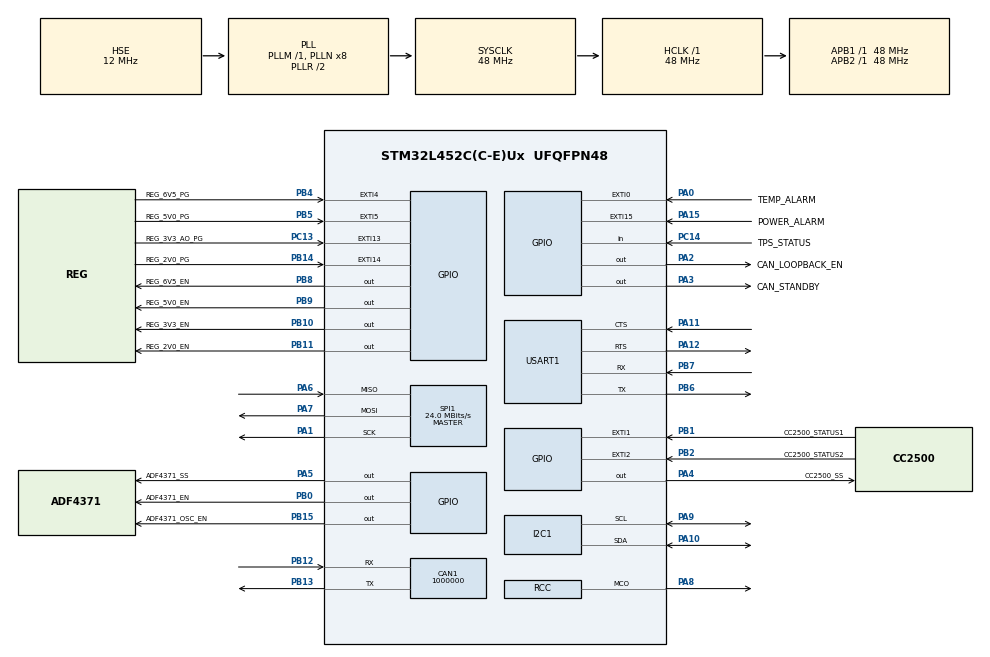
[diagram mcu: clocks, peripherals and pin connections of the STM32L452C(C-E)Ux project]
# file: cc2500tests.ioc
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CAN1.CalculateBaudRate=1000000
CAN1.CalculateTimeBit=1000
CAN1.CalculateTimeQuantum=333.3333333333333
Dma.Request0=USART1_RX
Dma.Request1=USART1_TX
Dma.USART1_RX.0.Direction=DMA_PERIPH_TO_MEMORY
Dma.USART1_RX.0.Instance=DMA1_Channel5
Dma.USART1_RX.0.MemDataAlignment=DMA_MDATAALIGN_BYTE
Dma.USART1_RX.0.MemInc=DMA_MINC_ENABLE
Dma.USART1_RX.0.Mode=DMA_NORMAL
Dma.USART1_RX.0.PeriphDataAlignment=DMA_PDATAALIGN_BYTE
Dma.USART1_RX.0.PeriphInc=DMA_PINC_DISABLE
Dma.USART1_RX.0.Priority=DMA_PRIORITY_LOW
Dma.USART1_TX.1.Direction=DMA_MEMORY_TO_PERIPH
Dma.USART1_TX.1.Instance=DMA1_Channel4
Dma.USART1_TX.1.MemDataAlignment=DMA_MDATAALIGN_BYTE
Dma.USART1_TX.1.MemInc=DMA_MINC_ENABLE
Dma.USART1_TX.1.Mode=DMA_NORMAL
Dma.USART1_TX.1.PeriphDataAlignment=DMA_PDATAALIGN_BYTE
Dma.USART1_TX.1.PeriphInc=DMA_PINC_DISABLE
Dma.USART1_TX.1.Priority=DMA_PRIORITY_LOW
I2C1.Timing=0x10805D88
Mcu.Family=STM32L4
Mcu.Name=STM32L452C(C-E)Ux
Mcu.Package=UFQFPN48
NVIC.CAN1_RX0_IRQn=true\:0\:0\:false\:false\:true\:true\:true\:true
NVIC.CAN1_RX1_IRQn=true\:0\:0\:false\:false\:true\:true\:true\:true
NVIC.CAN1_SCE_IRQn=true\:0\:0\:false\:false\:true\:true\:true\:true
NVIC.CAN1_TX_IRQn=true\:0\:0\:false\:false\:true\:true\:true\:true
NVIC.DMA1_Channel4_IRQn=true\:0\:0\:false\:false\:true\:false\:true\:true
NVIC.DMA1_Channel5_IRQn=true\:0\:0\:false\:false\:true\:false\:true\:true
NVIC.I2C1_ER_IRQn=true\:0\:0\:false\:false\:true\:true\:true\:true
NVIC.I2C1_EV_IRQn=true\:0\:0\:false\:false\:true\:true\:true\:true
NVIC.PriorityGroup=NVIC_PRIORITYGROUP_4
NVIC.SPI1_IRQn=true\:0\:0\:false\:false\:true\:true\:true\:true
NVIC.USART1_IRQn=true\:0\:0\:false\:false\:true\:true\:true\:true
PA0.GPIO_Label=TEMP_ALARM
PA0.GPIO_ModeDefaultEXTI=GPIO_MODE_IT_FALLING
PA0.Signal=GPXTI0
PA1.Mode=Full_Duplex_Master
PA1.Signal=SPI1_SCK
PA10.Mode=I2C
PA10.Signal=I2C1_SDA
PA11.Mode=CTS_RTS
PA11.Signal=USART1_CTS
PA12.Mode=CTS_RTS
PA12.Signal=USART1_RTS
PA13\ (JTMS/SWDIO).Mode=Trace_Asynchronous_SW
PA13\ (JTMS/SWDIO).Signal=SYS_JTMS-SWDIO
PA14\ (JTCK/SWCLK).Mode=Trace_Asynchronous_SW
PA14\ (JTCK/SWCLK).Signal=SYS_JTCK-SWCLK
PA15\ (JTDI).GPIO_Label=POWER_ALARM
PA15\ (JTDI).GPIO_ModeDefaultEXTI=GPIO_MODE_IT_FALLING
PA15\ (JTDI).Signal=GPXTI15
PA2.GPIO_Label=CAN_LOOPBACK_EN
PA2.Signal=GPIO_Output
PA3.GPIO_Label=CAN_STANDBY
PA3.GPIO_Speed=GPIO_SPEED_FREQ_LOW
PA3.Signal=GPIO_Output
PA4.GPIO_Label=CC2500_SS
PA4.Signal=GPIO_Output
PA5.GPIO_Label=ADF4371_SS
PA5.Signal=GPIO_Output
PA6.Mode=Full_Duplex_Master
PA6.Signal=SPI1_MISO
PA7.Mode=Full_Duplex_Master
PA7.Signal=SPI1_MOSI
PA8.Mode=Clock-out
PA8.Signal=RCC_MCO
PA9.Mode=I2C
PA9.Signal=I2C1_SCL
PB0.GPIO_Label=ADF4371_EN
PB0.Signal=GPIO_Output
PB1.GPIO_Label=CC2500_STATUS1
PB1.Signal=GPXTI1
PB10.GPIO_Label=REG_3V3_EN
PB10.Signal=GPIO_Output
PB11.GPIO_Label=REG_2V0_EN
PB11.Signal=GPIO_Output
PB12.Mode=CAN_Activate
PB12.Signal=CAN1_RX
PB13.Mode=CAN_Activate
PB13.Signal=CAN1_TX
PB14.GPIO_Label=REG_2V0_PG
PB14.GPIO_ModeDefaultEXTI=GPIO_MODE_IT_FALLING
PB14.Signal=GPXTI14
PB15.GPIO_Label=ADF4371_OSC_EN
PB15.Signal=GPIO_Output
PB2.GPIO_Label=CC2500_STATUS2
PB2.Signal=GPXTI2
PB3\ (JTDO/TRACESWO).Mode=Trace_Asynchronous_SW
PB3\ (JTDO/TRACESWO).Signal=SYS_JTDO-SWO
PB4\ (NJTRST).GPIO_Label=REG_6V5_PG
PB4\ (NJTRST).GPIO_ModeDefaultEXTI=GPIO_MODE_IT_FALLING
PB4\ (NJTRST).Signal=GPXTI4
PB5.GPIO_Label=REG_5V0_PG
PB5.GPIO_ModeDefaultEXTI=GPIO_MODE_IT_FALLING
PB5.Signal=GPXTI5
PB6.Mode=Asynchronous
PB6.Signal=USART1_TX
PB7.Mode=Asynchronous
PB7.Signal=USART1_RX
PB8.GPIO_Label=REG_6V5_EN
PB8.Signal=GPIO_Output
PB9.GPIO_Label=REG_5V0_EN
PB9.Signal=GPIO_Output
PC13.GPIO_Label=REG_3V3_AO_PG
PC13.GPIO_ModeDefaultEXTI=GPIO_MODE_IT_FALLING
PC13.Signal=GPXTI13
PC14-OSC32_IN\ (PC14).GPIO_Label=TPS_STATUS
PC14-OSC32_IN\ (PC14).Signal=GPIO_Input
PH0-OSC_IN\ (PH0).Mode=HSE-External-Oscillator
PH0-OSC_IN\ (PH0).Signal=RCC_OSC_IN
PH1-OSC_OUT\ (PH1).Mode=HSE-External-Oscillator
PH1-OSC_OUT\ (PH1).Signal=RCC_OSC_OUT
ProjectManager.HeapSize=0x200
ProjectManager.StackSize=0x400
ProjectManager.TargetToolchain=STM32CubeIDE
RCC.ADCFreq_Value=48000000
RCC.AHBFreq_Value=48000000
RCC.APB1Freq_Value=48000000
RCC.APB1TimFreq_Value=48000000
RCC.APB2Freq_Value=48000000
RCC.APB2TimFreq_Value=48000000
RCC.CortexFreq_Value=48000000
RCC.HCLKFreq_Value=48000000
RCC.HSE_VALUE=12000000
RCC.HSI48_VALUE=48000000
RCC.HSI_VALUE=16000000
RCC.LSE_VALUE=32768
RCC.MSI_VALUE=4000000
RCC.PLLSourceVirtual=RCC_PLLSOURCE_HSE
RCC.SYSCLKFreq_VALUE=48000000
RCC.SYSCLKSource=RCC_SYSCLKSOURCE_PLLCLK
RCC.USBFreq_Value=48000000
RCC.VCOOutputFreq_Value=96000000
SPI1.CalculateBaudRate=24.0 MBits/s
SPI1.Direction=SPI_DIRECTION_2LINES
SPI1.Mode=SPI_MODE_MASTER
SPI1.VirtualType=VM_MASTER
USART1.VirtualMode-Asynchronous=VM_ASYNC
VP_IWDG_VS_IWDG.Mode=IWDG_Activate
board=custom

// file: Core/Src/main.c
/* USER CODE BEGIN Header */
/**
  ******************************************************************************
  * @file           : main.c
  * @brief          : CC2500 Full TX/RX Driver
  * Pins: CS=PB11, SCK=PA1, MISO=PA6, MOSI=PA7
  * GDO1=PB1, GDO2=PB2, LED=PA4
  * Debug: SWO ITM + USART1 @ 115200
  * @note           : Heavily commented to explain SPI logic, state machine
  * transitions, and RF configurations.
  ******************************************************************************
  */
/* USER CODE END Header */

#include "main.h"

/* USER CODE BEGIN Includes */
#include <stdio.h>
#include <string.h>
#include <math.h>

/* Debug Indicator LED = PA4 */
#define LED_PORT    GPIOA
#define LED_PIN     GPIO_PIN_4
/* USER CODE END Includes */

/* USER CODE BEGIN PTD */
/* CC2500 SPI Command Header Bits */
#define CC2500_READ   0x80  /* Bit 7 = 1 indicates a Read operation, 0 is Write */
#define CC2500_BURST  0x40  /* Bit 6 = 1 indicates a Burst (multi-byte) access */
/* USER CODE END PTD */

/* USER CODE BEGIN PD */

/* ═══════════════════════════════════════════════════════
 * GPIO MAPPING (CORRECTED)
 * ═══════════════════════════════════════════════════════ */

/* Chip Select (CS) Control Macros - Manually driven for SPI */
#define CC2500_CS_PORT    GPIOB
#define CC2500_CS_PIN     GPIO_PIN_11
#define CC2500_CS_LOW()   HAL_GPIO_WritePin(CC2500_CS_PORT, CC2500_CS_PIN, GPIO_PIN_RESET)
#define CC2500_CS_HIGH()  HAL_GPIO_WritePin(CC2500_CS_PORT, CC2500_CS_PIN, GPIO_PIN_SET)

/* General Digital Output (GDO) pins from CC2500 to STM32 */
#define GDO0_PORT   GPIOB   // Mapped to PB1
#define GDO0_PIN    GPIO_PIN_1
#define GDO2_PORT   GPIOB   // Mapped to PB2
#define GDO2_PIN    GPIO_PIN_2

/* Macros to read the hardware state of the GDO pins */
#define GDO0_READ() HAL_GPIO_ReadPin(GDO0_PORT, GDO0_PIN)
#define GDO2_READ() HAL_GPIO_ReadPin(GDO2_PORT, GDO2_PIN)

/* ═══════════════════════════════════════════════════════
 * REGISTERS - See CC2500 Datasheet for full details
 * ═══════════════════════════════════════════════════════ */

/* Status Registers (Read-Only) */
#define REG_PARTNUM   0x30  // Chip part number
#define REG_VERSION   0x31  // Chip version
#define REG_LQI       0x33  // Link Quality Indicator
#define REG_RSSI      0x34  // Received Signal Strength Indicator
#define REG_MARCSTATE 0x35  // Main Radio Control State Machine state
#define REG_TXBYTES   0x3A  // Bytes in TX FIFO
#define REG_RXBYTES   0x3B  // Bytes in RX FIFO

/* Configuration Registers */
#define REG_IOCFG0    0x02  // GDO0 output pin configuration
#define REG_IOCFG1    0x01  // GDO1 output pin configuration
#define REG_IOCFG2    0x00  // GDO2 output pin configuration

#define REG_PKTLEN    0x06  // Packet length
#define REG_PKTCTRL0  0x08  // Packet automation control
#define REG_PKTCTRL1  0x07  // Packet automation control
#define REG_CHANNR    0x0A  // Channel number

/* Frequency control words */
#define REG_FREQ2     0x0D  // Frequency control word, high byte
#define REG_FREQ1     0x0E  // Frequency control word, middle byte
#define REG_FREQ0     0x0F  // Frequency control word, low byte

/* Modem configuration */
#define REG_MDMCFG4   0x10  // Modem configuration (data rate exponent, channel BW)
#define REG_MDMCFG3   0x11  // Modem configuration (data rate mantissa)
#define REG_MDMCFG2   0x12  // Modem configuration (modulation format, sync mode)
#define REG_MDMCFG1   0x13  // Modem configuration (FEC, preamble length)
#define REG_DEVIATN   0x15  // Modem deviation setting

/* Main Radio Control State Machine configuration */
#define REG_MCSM1     0x17
#define REG_MCSM0     0x18

#define REG_FOCCFG    0x19  // Frequency Offset Compensation config
#define REG_AGCCTRL2  0x1B  // AGC control

#define REG_FREND0    0x22  // Front end TX configuration
#define REG_FSCAL1    0x25  // Frequency synthesizer calibration
#define REG_FSCAL0    0x26  // Frequency synthesizer calibration

/* FIFO and Power Access */
#define REG_PATABLE   0x3E  // Power amplifier output power table
#define REG_TXFIFO    0x3F  // TX FIFO (Write)
#define REG_RXFIFO    0x3F  // RX FIFO (Read)

/* ═══════════════════════════════════════════════════════
 * COMMAND STROBES (Single-byte commands)
 * ═══════════════════════════════════════════════════════ */

#define STROBE_SRES   0x30  // Reset chip
#define STROBE_SFSTXON 0x31 // Enable and calibrate frequency synthesizer
#define STROBE_SXOFF  0x32  // Turn off crystal oscillator
#define STROBE_SCAL   0x33  // Calibrate frequency synthesizer and turn it off
#define STROBE_SRX    0x34  // Enable RX
#define STROBE_STX    0x35  // Enable TX
#define STROBE_SIDLE  0x36  // Exit RX / TX, turn off frequency synthesizer
#define STROBE_SFRX   0x3A  // Flush the RX FIFO
#define STROBE_SFTX   0x3B  // Flush the TX FIFO

/* ── MARCSTATE values (State Machine Status) ────────────────────────────────── */
#define MARCSTATE_IDLE 0x01
#define MARCSTATE_RX   0x0D
#define MARCSTATE_TX   0x13

/* ── Crystal and frequency constraints ──────────────────────────────────────── */
#define FXOSC        26000000.0    /* CC2500 requires a 26 MHz crystal */
#define CENTRE_FREQ  2433000000.0  /* Targeted base frequency: 2.433 GHz */

/* ── RX buffer size ─────────────────────────────────────────────────────────── */
#define RX_BUF_SIZE  64  /* CC2500 hardware FIFO is exactly 64 bytes */

/* USER CODE END PD */

CAN_HandleTypeDef hcan1;

I2C_HandleTypeDef hi2c1;

IWDG_HandleTypeDef hiwdg;

SPI_HandleTypeDef hspi1;

UART_HandleTypeDef huart1;
DMA_HandleTypeDef hdma_usart1_rx;
DMA_HandleTypeDef hdma_usart1_tx;

/* USER CODE BEGIN PV */

/**
 * @brief Overrides standard printf to output to both SWO ITM and USART1.
 * Useful for redundant debugging depending on what cables are plugged in.
 */
int __io_putchar(int ch)
{
    ITM_SendChar(ch); // Send to SWO Viewer
    HAL_UART_Transmit(&huart1, (uint8_t *)&ch, 1, 1000); // Send to Serial Terminal
    return ch;
}

/* USER CODE END PV */

void SystemClock_Config(void);
static void MX_GPIO_Init(void);
static void MX_DMA_Init(void);
static void MX_CAN1_Init(void);
static void MX_I2C1_Init(void);
static void MX_IWDG_Init(void);
static void MX_SPI1_Init(void);
static void MX_USART1_UART_Init(void);

/* USER CODE BEGIN PFP */
/* Low-level SPI */
void    CC2500_WriteReg(uint8_t addr, uint8_t value);
uint8_t CC2500_ReadReg(uint8_t addr);
uint8_t CC2500_Strobe(uint8_t cmd);
void    CC2500_WriteBurst(uint8_t addr, const uint8_t *data, uint8_t len);
void    CC2500_ReadBurst(uint8_t addr, uint8_t *data, uint8_t len);
/* Mid-level */
void    CC2500_Reset(void);
uint8_t CC2500_WaitIdle(uint32_t timeout_ms);
/* High-level */
void    CC2500_RFConfig(void);
void    CC2500_SetFrequency(double frequency);
double  CC2500_GetFrequency(void);
void    CC2500_TransmitPacket(const uint8_t *data, uint8_t length);
void    CC2500_ReceiveLoop(void);
/* Test/bring-up */
void    CC2500_Test(void);
void    CC2500_TxLoopbackTest(void);

static const char *marcstate_str(uint8_t s);
/* USER CODE END PFP */

/* USER CODE BEGIN 0 */

/* ════════════════════════════════════════════════════════════════════════════
 * LOW-LEVEL SPI FUNCTIONS
 * ════════════════════════════════════════════════════════════════════════════ */

/**
 * @brief Writes a single byte to a specific CC2500 register.
 */
void CC2500_WriteReg(uint8_t addr, uint8_t val)
{
    // Mask with 0x3F ensures bits 6 and 7 are 0 (Write mode, Single byte)
    uint8_t tx_buf[2] = { addr & 0x3F, val };
    uint8_t rx_buf[2]; // Captures and flushes the incoming bytes automatically

    CC2500_CS_LOW(); // Initiate SPI transaction
    HAL_SPI_TransmitReceive(&hspi1, tx_buf, rx_buf, 2, HAL_MAX_DELAY);
    CC2500_CS_HIGH(); // Terminate SPI transaction
}

/**
 * @brief Reads a single byte from a specific CC2500 register.
 */
uint8_t CC2500_ReadReg(uint8_t addr)
{
    // Status registers (>= 0x30) require the BURST bit to be set during reads,
    // otherwise the chip expects a Strobe command. Configuration registers do not.
    uint8_t tx = (addr >= 0x30) ? (addr | CC2500_READ | CC2500_BURST)
                                : (addr | CC2500_READ);
    uint8_t tx_buf[2] = { tx, 0x00 }; // Byte 1: Header, Byte 2: Dummy clocking byte
    uint8_t rx_buf[2] = { 0, 0 };

    CC2500_CS_LOW();
    HAL_SPI_TransmitReceive(&hspi1, tx_buf, rx_buf, 2, HAL_MAX_DELAY);
    CC2500_CS_HIGH();

    // The first byte returned is the status byte; the second is the actual register data
    return rx_buf[1];
}

/**
 * @brief Sends a 1-byte instruction (Strobe) to the CC2500.
 */
uint8_t CC2500_Strobe(uint8_t cmd)
{
    uint8_t status = 0;
    CC2500_CS_LOW();
    // Sending a single byte. The CC2500 immediately replies with its global status byte
    HAL_SPI_TransmitReceive(&hspi1, &cmd, &status, 1, HAL_MAX_DELAY);
    CC2500_CS_HIGH();
    return status;
}

/**
 * @brief Writes multiple bytes consecutively (Burst Write).
 */
void CC2500_WriteBurst(uint8_t addr, const uint8_t *data, uint8_t len)
{
    uint8_t tx_buf[65];
    uint8_t rx_buf[65];

    // Hardware limit: FIFO cannot hold more than 64 bytes
    if (len > 64) len = 64;

    // Set Burst bit (0x40). Write bit (0x80) is naturally 0.
    tx_buf[0] = (addr & 0x3F) | CC2500_BURST;
    memcpy(&tx_buf[1], data, len); // Append payload after header byte

    CC2500_CS_LOW();
    // Transmit and receive simultaneously to prevent internal MCU FIFO overflow
    HAL_SPI_TransmitReceive(&hspi1, tx_buf, rx_buf, len + 1, HAL_MAX_DELAY);
    CC2500_CS_HIGH();
}

/**
 * @brief Reads multiple bytes consecutively (Burst Read).
 */
void CC2500_ReadBurst(uint8_t addr, uint8_t *data, uint8_t len)
{
    uint8_t tx_buf[65];
    uint8_t rx_buf[65];
    if (len > 64) len = 64;

    memset(tx_buf, 0x00, len + 1); // Fill with dummy bytes to keep clock running
    // Set both Read (0x80) and Burst (0x40) bits
    tx_buf[0] = addr | CC2500_READ | CC2500_BURST;

    CC2500_CS_LOW();
    HAL_SPI_TransmitReceive(&hspi1, tx_buf, rx_buf, len + 1, HAL_MAX_DELAY);
    CC2500_CS_HIGH();

    // Copy received bytes (offset by 1 to skip the initial status byte) into user buffer
    memcpy(data, &rx_buf[1], len);
}

/* ════════════════════════════════════════════════════════════════════════════
 * MID-LEVEL HELPERS
 * ════════════════════════════════════════════════════════════════════════════ */

/**
 * @brief Hardware-level reset sequence specified by the CC2500 datasheet.
 */
void CC2500_Reset(void)
{
    // Toggle CS high-low-high to trigger internal reset circuitry
    CC2500_CS_HIGH(); HAL_Delay(2);
    CC2500_CS_LOW();  HAL_Delay(2);
    CC2500_CS_HIGH(); HAL_Delay(2);

    CC2500_Strobe(STROBE_SRES); // Send Software Reset Strobe
    HAL_Delay(10);              // Allow oscillators to stabilize
}

/**
 * @brief Blocks execution until the CC2500 state machine enters the IDLE state.
 */
uint8_t CC2500_WaitIdle(uint32_t timeout_ms)
{
    CC2500_Strobe(STROBE_SIDLE); // Command chip to go to IDLE
    uint32_t deadline = HAL_GetTick() + timeout_ms;

    // Mask with 0x1F removes reserved upper bits from MARCSTATE
    while ((CC2500_ReadReg(REG_MARCSTATE) & 0x1F) != MARCSTATE_IDLE) {
        if (HAL_GetTick() > deadline) return 0; // Timeout failure
    }
    return 1; // Success
}

/**
 * @brief Converts hexadecimal MARCSTATE value into a human-readable string.
 */
static const char *marcstate_str(uint8_t s)
{
    switch (s) {
    		case 0x00: return "SLEEP";
            case 0x01: return "IDLE";
            case 0x0D: return "RX";
            case 0x11: return "RX_OVERFLOW";
            case 0x13: return "TX";
            case 0x16: return "TX_UNDERFLOW";
            default:   return "UNKNOWN";
    }
}

/* ════════════════════════════════════════════════════════════════════════════
 * RF CONFIGURATION  –  2.433 GHz, 250 kbps GFSK
 * ════════════════════════════════════════════════════════════════════════════ */

void CC2500_RFConfig(void)
{
    // FIX 2: Configure GDO pins explicitly to link hardware pins to the RF engine
    // REG_IOCFG0 (Controls PB1/GDO0): 0x06 asserts on sync word match, deasserts at End-of-Packet
    CC2500_WriteReg(REG_IOCFG0, 0x06);

    // REG_IOCFG2 (Controls PB2/GDO2): 0x29 outputs CHIP_RDYn (low when crystal oscillator is stable)
    CC2500_WriteReg(REG_IOCFG2, 0x29);

    // Set Base Frequency to 2.433 GHz
    CC2500_WriteReg(REG_FREQ2, 0x5D);
    CC2500_WriteReg(REG_FREQ1, 0x93);
    CC2500_WriteReg(REG_FREQ0, 0xB1);

    // Modem Configurations (Baud rate, modulation type, sync words)
    CC2500_WriteReg(REG_MDMCFG4, 0x2D); // Channel bandwidth
    CC2500_WriteReg(REG_MDMCFG3, 0x3B); // Data rate
    CC2500_WriteReg(REG_MDMCFG2, 0x73); // Modulation format (GFSK), 30/32 sync bits detected
    CC2500_WriteReg(REG_MDMCFG1, 0x22); // FEC disabled, 4 preamble bytes
    CC2500_WriteReg(REG_DEVIATN, 0x34); // FSK deviation

    // Packet Automation Controls
    CC2500_WriteReg(REG_PKTCTRL0, 0x05); // Variable length packets, CRC enabled
    CC2500_WriteReg(REG_PKTCTRL1, 0x04); // Append two status bytes (RSSI, LQI) to RX payload
    CC2500_WriteReg(REG_PKTLEN, 60);     // Max payload length allowed

    // Power Amplifier settings (0xFE is roughly +1 dBm output power)
    uint8_t pa[8] = {0x00, 0xFE, 0, 0, 0, 0, 0, 0};
    CC2500_WriteBurst(REG_PATABLE, pa, 8);
}

/* ════════════════════════════════════════════════════════════════════════════
 * FREQUENCY CONTROL
 * ════════════════════════════════════════════════════════════════════════════ */

/**
 * Set carrier frequency in Hz.
 * Valid range: 2400e6 – 2483.5e6 Hz.
 * Chip is forced to IDLE before writing registers.
 */
void CC2500_SetFrequency(double frequency)
{
    if (frequency < 2400e6 || frequency > 2483.5e6) {
        printf("Frequency %.0f Hz out of 2.4GHz band range\r\n", frequency);
        return;
    }
    if (!CC2500_WaitIdle(100)) { // Chip must be IDLE to safely rewrite FREQ registers
        printf("SetFrequency: failed to reach IDLE\r\n");
        return;
    }

    // Formula derived from CC2500 datasheet: FREQ = (f * 2^16) / f_osc
    uint32_t word = (uint32_t)round(frequency * (65536.0 / FXOSC));

    CC2500_WriteReg(REG_FREQ2, (uint8_t)((word >> 16) & 0xFF));
    CC2500_WriteReg(REG_FREQ1, (uint8_t)((word >>  8) & 0xFF));
    CC2500_WriteReg(REG_FREQ0, (uint8_t)((word      ) & 0xFF));
    printf("Frequency set to %.3f MHz\r\n", frequency / 1e6);
}

/**
 * Read back the configured carrier frequency in Hz.
 */
double CC2500_GetFrequency(void)
{
    uint32_t word = ((uint32_t)CC2500_ReadReg(REG_FREQ2) << 16)
                  | ((uint32_t)CC2500_ReadReg(REG_FREQ1) <<  8)
                  |  (uint32_t)CC2500_ReadReg(REG_FREQ0);
    return (FXOSC * (double)word) / 65536.0;
}

/* ════════════════════════════════════════════════════════════════════════════
 * TRANSMIT
 *
 * Packet format (variable length mode, PKTCTRL0=0x05):
 * data[0]        = length byte  (number of payload bytes that follow)
 * data[1..len-1] = payload bytes
 *
 * GDO1 (PB1 = CC2500_STATUS1) is wired to GDO0 of CC2500.
 * With IOCFG1=0x06 it asserts when sync is sent, deasserts at EOP.
 * MCSM1=0x3C returns chip to IDLE automatically after TX.
 * ════════════════════════════════════════════════════════════════════════════ */

void CC2500_TransmitPacket(const uint8_t *data, uint8_t len)
{
    // Force IDLE, flush the TX FIFO to clear old data
    CC2500_Strobe(STROBE_SIDLE);
    CC2500_Strobe(STROBE_SFTX);

    // Push the new payload into the hardware FIFO
    CC2500_WriteBurst(REG_TXFIFO, data, len);

    // Command the chip to begin Transmitting
    CC2500_Strobe(STROBE_STX);

    // FIX 3: Dynamic hardware state tracking instead of a blind 10ms guess
    // Block until the state machine leaves the TX state (packet is fully sent)
    uint32_t timeout = HAL_GetTick() + 50; // 50ms absolute safety ceiling
    while ((CC2500_ReadReg(REG_MARCSTATE) & 0x1F) == MARCSTATE_TX) {
        if (HAL_GetTick() > timeout) {
            printf("TX Error: State machine timeout!\r\n");
            break;
        }
    }

    // Post-transmit validation to handle unexpected RF locks
    // Verify success. 0x16 indicates the TX FIFO ran empty before packet completion
    uint8_t post_state = CC2500_ReadReg(REG_MARCSTATE) & 0x1F;
    if (post_state == 0x16) { // FIXED: 0x16 = TX_UNDERFLOW
        printf("TX Error: UNDERFLOW! Resetting TX FIFO...\r\n");
        CC2500_Strobe(STROBE_SIDLE);
        CC2500_Strobe(STROBE_SFTX);
    } else {
        printf("TX OK\r\n");
    }
}

/* ════════════════════════════════════════════════════════════════════════════
 * RECEIVE LOOP  (blocking)
 *
 * Received packet layout in RX FIFO (PKTCTRL1=0x04, append status on):
 * buf[0]             = length byte
 * buf[1 .. len]      = payload
 * buf[len+1]         = RSSI raw
 * buf[len+2]         = LQI[6:0] | CRC_OK[7]
 *
 * Call from main() when you want this board to be the receiver.
 * To use as transmitter instead, comment this out and use
 * CC2500_TransmitPacket() in a loop.
 * ════════════════════════════════════════════════════════════════════════════ */

void CC2500_ReceiveLoop(void)
{
    printf("\r\nRX MODE START\r\n");

    // FIX 1: Move initialization strobes OUTSIDE the infinite loop
    // Clear state and enter continuous Receive Mode
    CC2500_Strobe(STROBE_SIDLE);
    CC2500_Strobe(STROBE_SFRX); // Flush old junk in RX FIFO
    CC2500_Strobe(STROBE_SRX);  // Enter RX state

    while (1)
    {
        uint8_t rxbytes1 = 0, rxbytes2 = 0;

        // FIX 4: Asynchronous clock domain double-read protection
        // HARDWARE ERRATA WORKAROUND:
        // The RXBYTES register can glitch if read exactly while a byte is written to the FIFO
        // by the internal RF MAC. Double-reading ensures structural integrity of the count.
        do {
            rxbytes1 = CC2500_ReadReg(REG_RXBYTES) & 0x7F;
            rxbytes2 = CC2500_ReadReg(REG_RXBYTES) & 0x7F;
        } while (rxbytes1 != rxbytes2);

        uint8_t rxbytes = rxbytes1;

        // Handle hardware overflow conditions safely
        // Check if the FIFO received more than 64 bytes without being read (Overflow)
        uint8_t state = CC2500_ReadReg(REG_MARCSTATE) & 0x1F;
        if (state == 0x11) // 0x11 = RX_OVERFLOW
        {
            printf("[RX] Overflow encountered! Purging...\r\n");
            CC2500_Strobe(STROBE_SIDLE);
            CC2500_Strobe(STROBE_SFRX);
            CC2500_Strobe(STROBE_SRX);
            continue;
        }

        if (rxbytes == 0)
        {
            HAL_Delay(1); // Yield execution slightly to avoid thrashing the SPI bus
            continue;     // Spinlock until data arrives
        }

        // Pull the entire pending buffer
        uint8_t buf[64];
        CC2500_ReadBurst(REG_RXFIFO, buf, rxbytes);

        // First byte is the packet length (PKTCTRL0=0x05 variable length mode)
        uint8_t len = buf[0];

        // Validate structure integrity of the dynamic buffer length byte
        // Sanity check packet bounds
        if (len == 0 || len > 60 || len + 3 > rxbytes)
        {
            printf("[RX] Corrupted frame parsed: len=%d, bytes=%d\r\n", len, rxbytes);
            CC2500_Strobe(STROBE_SIDLE);
            CC2500_Strobe(STROBE_SFRX);
            CC2500_Strobe(STROBE_SRX);
            continue;
        }

        // Extract Payload
        uint8_t *payload = &buf[1];

        // Because PKTCTRL1=0x04, the chip automatically appends RSSI and LQI/CRC bits
        uint8_t rssi_raw = buf[len + 1];
        uint8_t lqi_crc  = buf[len + 2];

        uint8_t lqi = lqi_crc & 0x7F;      // Bottom 7 bits are Link Quality
        uint8_t crc = lqi_crc >> 7;        // Top bit indicates if hardware CRC passed

        // RSSI calculation formula from CC2500 datasheet
        int8_t rssi = (int8_t)(rssi_raw / 2) - 72;

        if (crc) {
            printf("[RX] \"%.*s\" RSSI=%d dBm LQI=%d CRC=OK\r\n", len, payload, rssi, lqi);
            HAL_GPIO_TogglePin(LED_PORT, LED_PIN);
        } else {
            printf("[RX] Bad CRC frame dropped\r\n");
        }

        // Cleanly return to RX mode for next inbound packet
        CC2500_Strobe(STROBE_SIDLE);
        CC2500_Strobe(STROBE_SRX);
    }
}

/* ════════════════════════════════════════════════════════════════════════════
 * SELF-TEST FUNCTIONS  (from bring-up, kept for diagnostics)
 * ════════════════════════════════════════════════════════════════════════════ */

void CC2500_Test(void)
{
    printf("\r\n=============================\r\n");
    printf("   CC2500 SPI TEST\r\n");
    printf("   CS=PB11 SCK=PA1\r\n");
    printf("   MISO=PA6 MOSI=PA7\r\n");
    printf("=============================\r\n\r\n");

    printf("[1] Resetting CC2500...\r\n");
    CC2500_Reset();

    printf("[2] Chip identification...\r\n");

    // Verify SPI communication by asking for hardcoded silicon ID numbers
    uint8_t partnum = CC2500_ReadReg(REG_PARTNUM);
    uint8_t version = CC2500_ReadReg(REG_VERSION);

    printf("    PARTNUM = 0x%02X  (expect 0x80) %s\r\n",
           partnum, partnum == 0x80 ? "OK" : "FAIL");
    printf("    VERSION = 0x%02X  (expect 0x03) %s\r\n",
           version, version == 0x03 ? "OK" : "FAIL");

    // 0x80 and 0x03 are constants from Texas Instruments for this silicon revision
    if (partnum != 0x80 || version != 0x03) {
        printf("\r\nCOMMS FAILED — halting\r\n");
        while (1) {
            HAL_GPIO_TogglePin(LED_PORT, LED_PIN); // Blink death loop
            HAL_Delay(100);
        }
    }

    printf("\r\n[3] Register write/readback...\r\n");

    // Write a series of bytes to a harmless register and read them back to ensure MISO/MOSI health
    uint8_t vals[] = { 0xAA, 0x55, 0x12, 0xA5 };
    uint8_t all_ok = 1;
    for (int i = 0; i < 4; i++) {
        CC2500_WriteReg(REG_CHANNR, vals[i]);
        uint8_t rb = CC2500_ReadReg(REG_CHANNR);
        printf("    Wrote 0x%02X  Read 0x%02X  %s\r\n",
               vals[i], rb, rb == vals[i] ? "OK" : "MISMATCH");
        if (rb != vals[i]) all_ok = 0;
    }

    printf("\r\n[4] State machine (SIDLE strobe)...\r\n");
    CC2500_Strobe(STROBE_SIDLE);
    HAL_Delay(5);
    uint8_t state = CC2500_ReadReg(REG_MARCSTATE) & 0x1F;
    printf("    MARCSTATE = 0x%02X (%s) %s\r\n",
           state, marcstate_str(state),
           state == MARCSTATE_IDLE ? "OK" : "FAIL");

    printf("\r\n=============================\r\n");
    if (all_ok && state == MARCSTATE_IDLE) {
        printf("   ALL TESTS PASSED\r\n");
        HAL_GPIO_WritePin(LED_PORT, LED_PIN, GPIO_PIN_SET);
    } else {
        printf("   SOME TESTS FAILED\r\n");
        HAL_GPIO_WritePin(LED_PORT, LED_PIN, GPIO_PIN_RESET);
    }
    printf("=============================\r\n");
}

void CC2500_TxLoopbackTest(void)
{
    printf("\r\n[5] TX loopback test...\r\n");

    CC2500_WaitIdle(50);
    CC2500_Strobe(STROBE_SIDLE);
    CC2500_Strobe(STROBE_SFTX);

    // Dummy Payload: Size (4) + Data (DE AD BE EF)
    uint8_t payload[5] = {4, 0xDE, 0xAD, 0xBE, 0xEF};

    // Push to TX FIFO
    CC2500_WriteBurst(REG_TXFIFO, payload, 5);

    // Read back the internal register that counts bytes waiting in the TX FIFO
    uint8_t txbytes = CC2500_ReadReg(REG_TXBYTES) & 0x7F;

    printf("TXBYTES=%d (expect 5)\r\n", txbytes);

    // Transmit!
    CC2500_Strobe(STROBE_STX);

    HAL_Delay(20); // Wait for physical air propagation

    // Post-TX state check. Should fall back to IDLE (0x01)
    uint8_t state = CC2500_ReadReg(REG_MARCSTATE) & 0x1F;

    printf("Post-TX state=0x%02X (%s)\r\n", state, marcstate_str(state));
}

/* USER CODE END 0 */

int main(void)
{

    HAL_Init();
    SystemClock_Config();

    /* ── Initialize Peripherals ── */
    MX_GPIO_Init();

    // Overriding CubeMX's CS Pin config to enforce VERY_HIGH speed (sharp edges for SPI reliability)
    GPIO_InitTypeDef GPIO_InitStructPrivate = {0};
    GPIO_InitStructPrivate.Pin   = CC2500_CS_PIN;
    GPIO_InitStructPrivate.Mode  = GPIO_MODE_OUTPUT_PP;
    GPIO_InitStructPrivate.Pull  = GPIO_NOPULL;
    GPIO_InitStructPrivate.Speed = GPIO_SPEED_FREQ_VERY_HIGH; // Fast edges for clean SPI framing
    HAL_GPIO_Init(CC2500_CS_PORT, &GPIO_InitStructPrivate);

    // Immediately pull it high to finish the boot-glitch fix
    // Force CS HIGH immediately so the CC2500 doesn't think an SPI transaction is starting
    CC2500_CS_HIGH();

    MX_DMA_Init();
    MX_CAN1_Init();
    MX_I2C1_Init();
//    MX_IWDG_Init(); // Watchdog disabled for debugging
    MX_SPI1_Init();
    MX_USART1_UART_Init();

    /* USER CODE BEGIN 2 */
    HAL_Delay(200);   /* Let SWO viewer or terminal application connect */

    /* ── Step 1: SPI self-test ── */
    CC2500_Test();

    /* ── Step 2: Apply RF configuration ── */
    printf("\r\n[6] Applying RF configuration...\r\n");
    CC2500_RFConfig();

    printf("    Frequency : %.3f MHz\r\n", CC2500_GetFrequency() / 1e6);
    printf("    LQI       : 0x%02X\r\n", CC2500_ReadReg(REG_LQI));
    printf("    RSSI      : 0x%02X\r\n", CC2500_ReadReg(REG_RSSI));
    uint8_t st = CC2500_ReadReg(REG_MARCSTATE) & 0x1F;
    printf("    MARCSTATE : 0x%02X (%s)\r\n", st, marcstate_str(st));

    /* ── Step 3: Raw FIFO loopback ── */
    CC2500_TxLoopbackTest();

    /* ── Step 4: Formatted packet TX ── */
    printf("\r\n[7] Sending formatted packet...\r\n");
    uint8_t pkt[] = "Hello from PCB!!";
    uint8_t len = strlen((char*)pkt);
    uint8_t tx[len + 1];
    tx[0] = len; // Prepend dynamic length byte
    memcpy(&tx[1], pkt, len);
    CC2500_TransmitPacket(tx, len + 1);

    /* ════════════════════════════════════════════════════════════
     * CHOOSE MODE — comment/uncomment one of the two blocks below
     * ════════════════════════════════════════════════════════════ */

    /* ── RECEIVER MODE (default) ── */
//    CC2500_ReceiveLoop();   /* blocking — never returns */

    // ── TRANSMITTER MODE ──
    printf("\r\n[TX] Continuous transmit @ 200 ms...\r\n");

        uint8_t tx_pkt[17];
        uint32_t count = 0;

        while (1)
        {
            memset(tx_pkt, 0, sizeof(tx_pkt));

            // Define exactly how many bytes of actual payload we want to send
            uint8_t payload_len = 16;
            tx_pkt[0] = payload_len; // Byte 0 is length marker

            // Use payload_len + 1 (or sizeof(tx_pkt) - 1) to allow snprintf to use all 16 slots for data
            snprintf((char *)&tx_pkt[1], payload_len + 1, "Pkt %010lu", count++);

            // Transmit total size: 1 length byte + 16 payload bytes = 17 bytes
            CC2500_TransmitPacket(tx_pkt, payload_len + 1);

            HAL_GPIO_TogglePin(LED_PORT, LED_PIN); // Blink to show life
            HAL_Delay(200); // Wait 200ms before next send
        }

    /* USER CODE END 2 */

    // Fallback loop if the application drops out of TX/RX logic
    while (1)
    {
        /* USER CODE BEGIN 3 */
        HAL_GPIO_TogglePin(LED_PORT, LED_PIN);
        HAL_Delay(1000);
        /* USER CODE END 3 */
    }
}

/* ════════════════════════════════════════════════════════════════════════════
 * PERIPHERAL INITIALISATION
 * ════════════════════════════════════════════════════════════════════════════ */

void SystemClock_Config(void)
{
    RCC_OscInitTypeDef RCC_OscInitStruct = {0};
    RCC_ClkInitTypeDef RCC_ClkInitStruct = {0};

    if (HAL_PWREx_ControlVoltageScaling(PWR_REGULATOR_VOLTAGE_SCALE1) != HAL_OK)
        Error_Handler();

    /* HSE=12 MHz, PLL: PLLM=1, PLLN=8, PLLR=2 → SYSCLK=48 MHz */
    RCC_OscInitStruct.OscillatorType = RCC_OSCILLATORTYPE_LSI | RCC_OSCILLATORTYPE_HSE;
    RCC_OscInitStruct.HSEState       = RCC_HSE_ON;
    RCC_OscInitStruct.LSIState       = RCC_LSI_ON;
    RCC_OscInitStruct.PLL.PLLState   = RCC_PLL_ON;
    RCC_OscInitStruct.PLL.PLLSource  = RCC_PLLSOURCE_HSE;
    RCC_OscInitStruct.PLL.PLLM       = 1;
    RCC_OscInitStruct.PLL.PLLN       = 8;
    RCC_OscInitStruct.PLL.PLLP       = RCC_PLLP_DIV7;
    RCC_OscInitStruct.PLL.PLLQ       = RCC_PLLQ_DIV2;
    RCC_OscInitStruct.PLL.PLLR       = RCC_PLLR_DIV2;
    if (HAL_RCC_OscConfig(&RCC_OscInitStruct) != HAL_OK)
        Error_Handler();

    RCC_ClkInitStruct.ClockType      = RCC_CLOCKTYPE_HCLK | RCC_CLOCKTYPE_SYSCLK
                                     | RCC_CLOCKTYPE_PCLK1 | RCC_CLOCKTYPE_PCLK2;
    RCC_ClkInitStruct.SYSCLKSource   = RCC_SYSCLKSOURCE_PLLCLK;
    RCC_ClkInitStruct.AHBCLKDivider  = RCC_SYSCLK_DIV1;
    RCC_ClkInitStruct.APB1CLKDivider = RCC_HCLK_DIV1;
    RCC_ClkInitStruct.APB2CLKDivider = RCC_HCLK_DIV1;
    if (HAL_RCC_ClockConfig(&RCC_ClkInitStruct, FLASH_LATENCY_2) != HAL_OK)
        Error_Handler();

    HAL_RCC_MCOConfig(RCC_MCO1, RCC_MCO1SOURCE_SYSCLK, RCC_MCODIV_1);
}

static void MX_CAN1_Init(void)
{
    hcan1.Instance                  = CAN1;
    hcan1.Init.Prescaler            = 16;
    hcan1.Init.Mode                 = CAN_MODE_NORMAL;
    hcan1.Init.SyncJumpWidth        = CAN_SJW_1TQ;
    hcan1.Init.TimeSeg1             = CAN_BS1_1TQ;
    hcan1.Init.TimeSeg2             = CAN_BS2_1TQ;
    hcan1.Init.TimeTriggeredMode    = DISABLE;
    hcan1.Init.AutoBusOff           = DISABLE;
    hcan1.Init.AutoWakeUp           = DISABLE;
    hcan1.Init.AutoRetransmission   = DISABLE;
    hcan1.Init.ReceiveFifoLocked    = DISABLE;
    hcan1.Init.TransmitFifoPriority = DISABLE;
    if (HAL_CAN_Init(&hcan1) != HAL_OK)
        Error_Handler();
}

static void MX_I2C1_Init(void)
{
    hi2c1.Instance              = I2C1;
    hi2c1.Init.Timing           = 0x10805D88;
    hi2c1.Init.OwnAddress1      = 0;
    hi2c1.Init.AddressingMode   = I2C_ADDRESSINGMODE_7BIT;
    hi2c1.Init.DualAddressMode  = I2C_DUALADDRESS_DISABLE;
    hi2c1.Init.OwnAddress2      = 0;
    hi2c1.Init.OwnAddress2Masks = I2C_OA2_NOMASK;
    hi2c1.Init.GeneralCallMode  = I2C_GENERALCALL_DISABLE;
    hi2c1.Init.NoStretchMode    = I2C_NOSTRETCH_DISABLE;
    if (HAL_I2C_Init(&hi2c1) != HAL_OK)
        Error_Handler();

    if (HAL_I2CEx_ConfigAnalogFilter(&hi2c1, I2C_ANALOGFILTER_ENABLE) != HAL_OK)
        Error_Handler();

    if (HAL_I2CEx_ConfigDigitalFilter(&hi2c1, 0) != HAL_OK)
        Error_Handler();
}

static void MX_IWDG_Init(void)
{
//    hiwdg.Instance       = IWDG;
//    hiwdg.Init.Prescaler = IWDG_PRESCALER_4;
//    hiwdg.Init.Window    = 4095;
//    hiwdg.Init.Reload    = 4095;
//    if (HAL_IWDG_Init(&hiwdg) != HAL_OK)
//        Error_Handler();
}

static void MX_SPI1_Init(void)
{
    hspi1.Instance               = SPI1;
    hspi1.Init.Mode              = SPI_MODE_MASTER;
    hspi1.Init.Direction         = SPI_DIRECTION_2LINES;
    hspi1.Init.DataSize          = SPI_DATASIZE_8BIT;       /* FIX: was 4BIT  */
    hspi1.Init.CLKPolarity       = SPI_POLARITY_LOW;        /* CPOL=0         */
    hspi1.Init.CLKPhase          = SPI_PHASE_1EDGE;         /* CPHA=0 → Mode 0*/
    hspi1.Init.NSS               = SPI_NSS_SOFT;
    hspi1.Init.BaudRatePrescaler = SPI_BAUDRATEPRESCALER_8; /* FIX: was /2 (too fast) */
    hspi1.Init.FirstBit          = SPI_FIRSTBIT_MSB;
    hspi1.Init.TIMode            = SPI_TIMODE_DISABLE;
    hspi1.Init.CRCCalculation    = SPI_CRCCALCULATION_DISABLE;
    hspi1.Init.CRCPolynomial     = 7;
    hspi1.Init.CRCLength         = SPI_CRC_LENGTH_DATASIZE;
    hspi1.Init.NSSPMode          = SPI_NSS_PULSE_DISABLE;   /* FIX: was ENABLE */
    if (HAL_SPI_Init(&hspi1) != HAL_OK)
        Error_Handler();
}

static void MX_USART1_UART_Init(void)
{
    huart1.Instance                    = USART1;
    huart1.Init.BaudRate               = 115200;
    huart1.Init.WordLength             = UART_WORDLENGTH_8B;
    huart1.Init.StopBits               = UART_STOPBITS_1;
    huart1.Init.Parity                 = UART_PARITY_NONE;
    huart1.Init.Mode                   = UART_MODE_TX_RX;
    huart1.Init.HwFlowCtl              = UART_HWCONTROL_NONE; /* FIX: was RTS_CTS */
    huart1.Init.OverSampling           = UART_OVERSAMPLING_16;
    huart1.Init.OneBitSampling         = UART_ONE_BIT_SAMPLE_DISABLE;
    huart1.AdvancedInit.AdvFeatureInit = UART_ADVFEATURE_NO_INIT;
    if (HAL_UART_Init(&huart1) != HAL_OK)
        Error_Handler();
}

static void MX_DMA_Init(void)
{
    __HAL_RCC_DMA1_CLK_ENABLE();

    /* FIX: priorities were 0 (above SYSCALL limit); raised to 6 */
    HAL_NVIC_SetPriority(DMA1_Channel4_IRQn, 6, 0);
    HAL_NVIC_EnableIRQ(DMA1_Channel4_IRQn);
    HAL_NVIC_SetPriority(DMA1_Channel5_IRQn, 6, 0);
    HAL_NVIC_EnableIRQ(DMA1_Channel5_IRQn);
}

static void MX_GPIO_Init(void)
{
    GPIO_InitTypeDef GPIO_InitStruct = {0};

    __HAL_RCC_GPIOC_CLK_ENABLE();
    __HAL_RCC_GPIOH_CLK_ENABLE();
    __HAL_RCC_GPIOA_CLK_ENABLE();
    __HAL_RCC_GPIOB_CLK_ENABLE();

    /* ---------------------------------------------------------------------
     * Initial output levels
     * ------------------------------------------------------------------ */

    /* PA outputs */
    HAL_GPIO_WritePin(GPIOA,
        CAN_LOOPBACK_EN_Pin |
        CAN_STANDBY_Pin     |
        ADF4371_SS_Pin,
        GPIO_PIN_RESET);

    /* PB outputs */
    HAL_GPIO_WritePin(GPIOB,
        ADF4371_EN_Pin     |
        REG_2V0_EN_Pin     |
        ADF4371_OSC_EN_Pin |
        REG_6V5_EN_Pin     |
        REG_5V0_EN_Pin,
        GPIO_PIN_RESET);

    /* PC outputs */
    HAL_GPIO_WritePin(REG_3V3_EN_GPIO_Port,
                      REG_3V3_EN_Pin,
                      GPIO_PIN_RESET);

    /* Chip selects inactive */
    HAL_GPIO_WritePin(CC2500_SS_GPIO_Port,
                      CC2500_SS_Pin,
                      GPIO_PIN_SET);

    /* LED off */
    HAL_GPIO_WritePin(LED_PORT, LED_PIN, GPIO_PIN_RESET);

    /* ---------------------------------------------------------------------
     * LED (PA4)
     * ------------------------------------------------------------------ */
    GPIO_InitStruct.Pin   = LED_PIN;
    GPIO_InitStruct.Mode  = GPIO_MODE_OUTPUT_PP;
    GPIO_InitStruct.Pull  = GPIO_NOPULL;
    GPIO_InitStruct.Speed = GPIO_SPEED_FREQ_LOW;
    HAL_GPIO_Init(LED_PORT, &GPIO_InitStruct);

    /* ---------------------------------------------------------------------
     * Inputs
     * ------------------------------------------------------------------ */

    /* TPS_STATUS */
    GPIO_InitStruct.Pin  = TPS_STATUS_Pin;
    GPIO_InitStruct.Mode = GPIO_MODE_INPUT;
    GPIO_InitStruct.Pull = GPIO_NOPULL;
    HAL_GPIO_Init(TPS_STATUS_GPIO_Port, &GPIO_InitStruct);

    /* POWER_ALARM (PC14)
       NOTE: Cannot use EXTI because PB14 already uses EXTI14 */
    GPIO_InitStruct.Pin  = POWER_ALARM_Pin;
    GPIO_InitStruct.Mode = GPIO_MODE_INPUT;
    GPIO_InitStruct.Pull = GPIO_NOPULL;
    HAL_GPIO_Init(POWER_ALARM_GPIO_Port, &GPIO_InitStruct);

    /* CC2500 GDO pins */
    GPIO_InitStruct.Pin  = CC2500_STATUS1_Pin | CC2500_STATUS2_Pin;
    GPIO_InitStruct.Mode = GPIO_MODE_INPUT;
    GPIO_InitStruct.Pull = GPIO_NOPULL;
    HAL_GPIO_Init(GPIOB, &GPIO_InitStruct);

    /* ---------------------------------------------------------------------
     * EXTI inputs
     * ------------------------------------------------------------------ */

    /* REG_3V3_AO_PG (PC13) */
    GPIO_InitStruct.Pin  = REG_3V3_AO_PG_Pin;
    GPIO_InitStruct.Mode = GPIO_MODE_IT_FALLING;
    GPIO_InitStruct.Pull = GPIO_NOPULL;
    HAL_GPIO_Init(REG_3V3_AO_PG_GPIO_Port, &GPIO_InitStruct);

    /* TEMP_ALARM (PA15) */
    GPIO_InitStruct.Pin  = TEMP_ALARM_Pin;
    GPIO_InitStruct.Mode = GPIO_MODE_IT_FALLING;
    GPIO_InitStruct.Pull = GPIO_NOPULL;
    HAL_GPIO_Init(TEMP_ALARM_GPIO_Port, &GPIO_InitStruct);

    /* REG_2V0_PG, REG_6V5_PG, REG_5V0_PG */
    GPIO_InitStruct.Pin  =
        REG_2V0_PG_Pin |
        REG_6V5_PG_Pin |
        REG_5V0_PG_Pin;
    GPIO_InitStruct.Mode = GPIO_MODE_IT_FALLING;
    GPIO_InitStruct.Pull = GPIO_NOPULL;
    HAL_GPIO_Init(GPIOB, &GPIO_InitStruct);

    /* ---------------------------------------------------------------------
     * Outputs - GPIOA
     * ------------------------------------------------------------------ */
    GPIO_InitStruct.Pin =
        CAN_LOOPBACK_EN_Pin |
        CAN_STANDBY_Pin     |
        ADF4371_SS_Pin;
    GPIO_InitStruct.Mode  = GPIO_MODE_OUTPUT_PP;
    GPIO_InitStruct.Pull  = GPIO_NOPULL;
    GPIO_InitStruct.Speed = GPIO_SPEED_FREQ_LOW;
    HAL_GPIO_Init(GPIOA, &GPIO_InitStruct);

    /* ---------------------------------------------------------------------
     * Outputs - GPIOB
     * ------------------------------------------------------------------ */
    GPIO_InitStruct.Pin =
        CC2500_SS_Pin       |
        ADF4371_EN_Pin      |
        REG_2V0_EN_Pin      |
        ADF4371_OSC_EN_Pin  |
        REG_6V5_EN_Pin      |
        REG_5V0_EN_Pin;
    GPIO_InitStruct.Mode  = GPIO_MODE_OUTPUT_PP;
    GPIO_InitStruct.Pull  = GPIO_NOPULL;
    GPIO_InitStruct.Speed = GPIO_SPEED_FREQ_LOW;
    HAL_GPIO_Init(GPIOB, &GPIO_InitStruct);

    /* ---------------------------------------------------------------------
     * Outputs - GPIOC
     * ------------------------------------------------------------------ */
    GPIO_InitStruct.Pin   = REG_3V3_EN_Pin;
    GPIO_InitStruct.Mode  = GPIO_MODE_OUTPUT_PP;
    GPIO_InitStruct.Pull  = GPIO_NOPULL;
    GPIO_InitStruct.Speed = GPIO_SPEED_FREQ_LOW;
    HAL_GPIO_Init(GPIOC, &GPIO_InitStruct);

    /* ---------------------------------------------------------------------
     * PA8 MCO
     * ------------------------------------------------------------------ */
    GPIO_InitStruct.Pin       = GPIO_PIN_8;
    GPIO_InitStruct.Mode      = GPIO_MODE_AF_PP;
    GPIO_InitStruct.Pull      = GPIO_NOPULL;
    GPIO_InitStruct.Speed     = GPIO_SPEED_FREQ_LOW;
    GPIO_InitStruct.Alternate = GPIO_AF0_MCO;
    HAL_GPIO_Init(GPIOA, &GPIO_InitStruct);

    /* ---------------------------------------------------------------------
     * EXTI NVIC
     * ------------------------------------------------------------------ */

    HAL_NVIC_SetPriority(EXTI15_10_IRQn, 5, 0);
    HAL_NVIC_EnableIRQ(EXTI15_10_IRQn);
}

void Error_Handler(void)
{
    __disable_irq();
    while (1) {}
}
